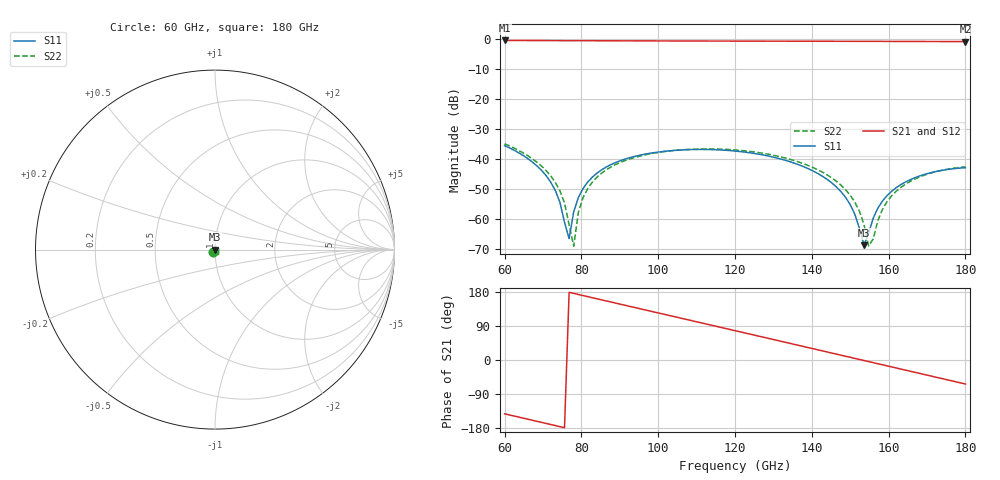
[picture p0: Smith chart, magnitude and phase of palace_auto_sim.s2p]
#  GHZ S DB R 50
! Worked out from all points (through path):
!   101 points, 60 GHz to 180 GHz, reference 50 ohm
!   highest |S21| = -0.64 dB at 60 GHz (marker M1); lowest = -1.0 dB at 180 GHz (marker M2)
!   group delay of S21, straight-line fit = 6.51 ps
!   lowest |S11| = -68.7 dB at 153.6 GHz (marker M3), VSWR 1.00, Z = 50 + j0.0357 ohm
!   |S11| at or under -10 dB: start of sweep to end of sweep
!   |S22| runs from -69.1 to -35.0 dB; largest |S21 - S12| = 2.1e-14
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60  -35.61 -125.1  -0.64 -142.0  -0.64 -142.0  -35.02 -126.2
67.2  -41.04 -141.4  -0.67 -158.9  -0.67 -158.9  -39.97 -143.2
72  -47.74 -150.1  -0.69 -170.2  -0.69 -170.2  -45.68 -153.7
74.4  -54.45 -149.3  -0.70 -175.8  -0.70 -175.8  -50.65 -157.5
75.6  -61.13 -137.5  -0.70 -178.6  -0.70 -178.6  -54.68 -157.7
76.8  -66.57 -44.5  -0.71 178.5  -0.71 178.5  -61.92 -151.0
78  -57.61 -7.5  -0.71 175.7  -0.71 175.7  -69.06 -32.0
79.2  -52.92 -2.9  -0.72 172.9  -0.72 172.9  -57.82 -4.0
80.4  -49.95 -2.9  -0.72 170.1  -0.72 170.1  -52.99 -2.4
87.6  -41.99 -15.5  -0.75 153.2  -0.75 153.2  -42.79 -15.3
100.8  -37.64 -44.4  -0.80 122.4  -0.80 122.4  -37.74 -44.8
120  -37.42 -89.4  -0.85 77.5  -0.85 77.5  -37.05 -90.3
140.4  -44.11 -144.7  -0.90 29.6  -0.90 29.6  -42.96 -145.3
148.8  -52.83 -173.7  -0.92 9.9  -0.92 9.9  -50.29 -171.7
151.2  -58.43 171.1  -0.93 4.3  -0.93 4.3  -54.39 178.1
153.6  -68.74 102.1  -0.93 -1.4  -0.93 -1.4  -61.89 158.4
154.8  -64.70 36.4  -0.94 -4.2  -0.94 -4.2  -68.96 119.2
156  -59.72 15.2  -0.94 -7.0  -0.94 -7.0  -66.63 33.8
157.2  -56.43 5.1  -0.94 -9.8  -0.94 -9.8  -60.55 8.8
160.8  -50.80 -12.0  -0.95 -18.3  -0.95 -18.3  -52.31 -13.2
168  -45.75 -36.8  -0.98 -35.2  -0.98 -35.2  -46.09 -38.1
180  -42.96 -76.0  -1.02 -63.3  -1.02 -63.3  -42.67 -76.3
